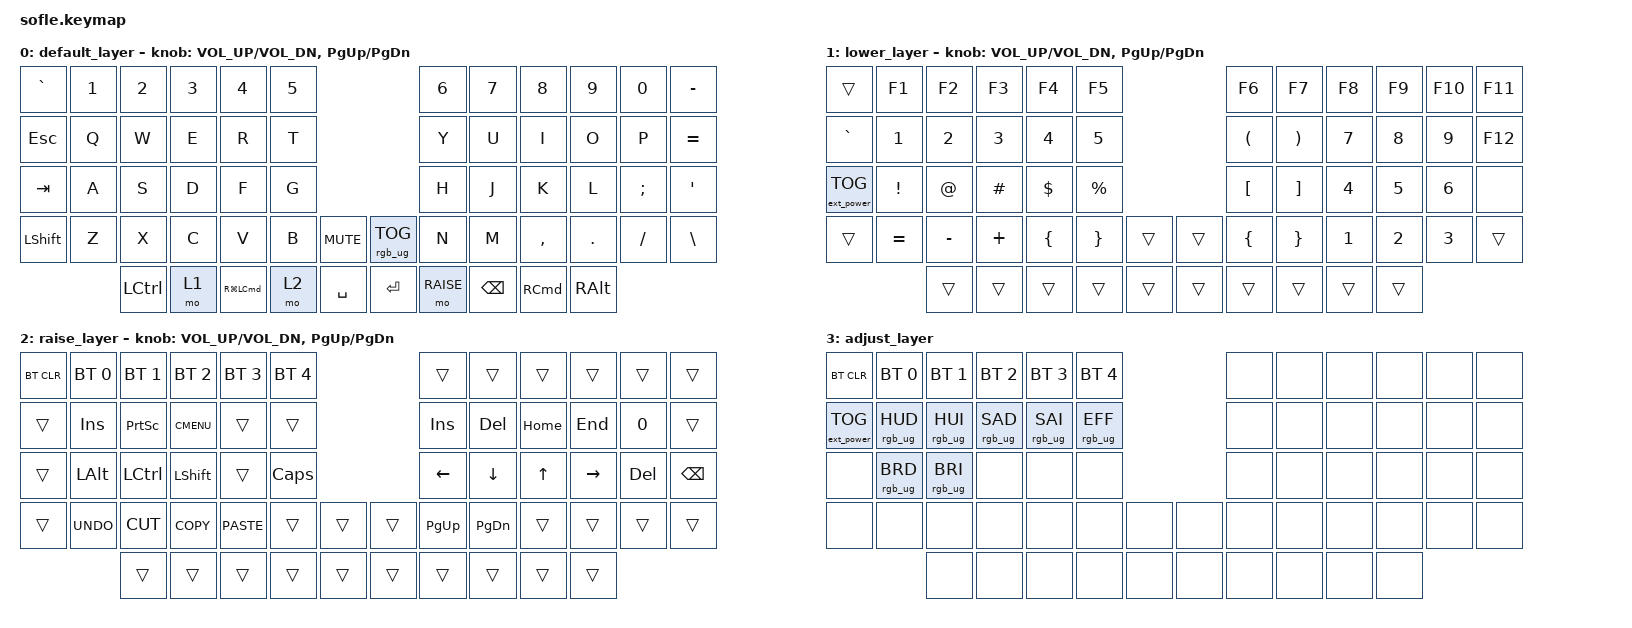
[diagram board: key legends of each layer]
/*
 * Copyright (c) 2020 The ZMK Contributors
 *
 * SPDX-License-Identifier: MIT
 */

#include <behaviors.dtsi>
#include <dt-bindings/zmk/bt.h>
#include <dt-bindings/zmk/ext_power.h>
#include <dt-bindings/zmk/keys.h>
#include <dt-bindings/zmk/rgb.h>

#define BASE 0
#define LOWER 1
#define RAISE 2
#define ADJUST 3

/ {
    // Activate ADJUST layer by pressing raise and lower

    conditional_layers {
        compatible = "zmk,conditional-layers";

        adjust_layer {
            if-layers = <LOWER RAISE>;
            then-layer = <ADJUST>;
        };
    };

    keymap {
        compatible = "zmk,keymap";

        default_layer {
            // ------------------------------------------------------------------------------------------------------------
            // |   `   |  1  |  2  |  3   |  4   |  5   |                   |  6   |  7    |  8    |  9   |   0   |       |
            // |  ESC  |  Q  |  W  |  E   |  R   |  T   |                   |  Y   |  U    |  I    |  O   |   P   | BKSPC |
            // |  TAB  |  A  |  S  |  D   |  F   |  G   |                   |  H   |  J    |  K    |  L   |   ;   |   '   |
            // | SHIFT |  Z  |  X  |  C   |  V   |  B   |  MUTE  |  |       |  N   |  M    |  ,    |  .   |   /   | SHIFT |
            //               | GUI | ALT  | CTRL | LOWER|  ENTER |  | SPACE | RAISE| CTRL  | ALT   | GUI  |

            bindings = <
&kp GRAVE  &kp N1  &kp N2            &kp N3  &kp N4                &kp N5                                 &kp N6     &kp N7         &kp N8             &kp N9         &kp N0    &kp MINUS
&kp ESC    &kp Q   &kp W             &kp E   &kp R                 &kp T                                  &kp Y      &kp U          &kp I              &kp O          &kp P     &kp EQUAL
&kp TAB    &kp A   &kp S             &kp D   &kp F                 &kp G                                  &kp H      &kp J          &kp K              &kp L          &kp SEMI  &kp SQT
&kp LSHFT  &kp Z   &kp X             &kp C   &kp V                 &kp B   &kp C_MUTE    &rgb_ug RGB_TOG  &kp N      &kp M          &kp COMMA          &kp DOT        &kp FSLH  &kp BACKSLASH
                   &kp LEFT_CONTROL  &mo 1   &kp RG(LEFT_COMMAND)  &mo 2   &kp SPACE     &kp ENTER        &mo RAISE  &kp BACKSPACE  &kp RIGHT_COMMAND  &kp RIGHT_ALT
            >;

            sensor-bindings = <&inc_dec_kp C_VOL_UP C_VOL_DN &inc_dec_kp PG_UP PG_DN>;
        };

        lower_layer {
            // TODO: Some binds are waiting for shifted keycode support.
            // ------------------------------------------------------------------------------------------------------------
            // |       |  F1 |  F2 |  F3  |  F4  |  F5  |                   |  F6  |  F7   |  F8   |  F9  |  F10  |  F11  |
            // |   `   |  1  |  2  |  3   |  4   |  5   |                   |  6   |  7    |  8    |  9   |   0   |  F12  |
            // |       |  !  |  @  |  #   |  $   |  %   |                   |  ^   |  &    |  *    |  (   |   )   |   |   |
            // |       |  =  |  -  |  +   |  {   |  }   |        |  |       |  [   |  ]    |  ;    |  :   |   \   |       |
            //               |     |      |      |      |        |  |       |      |       |       |      |

            bindings = <
&trans             &kp F1     &kp F2     &kp F3    &kp F4    &kp F5                       &kp F6                &kp F7                 &kp F8        &kp F9        &kp F10       &kp F11
&kp GRAVE          &kp N1     &kp N2     &kp N3    &kp N4    &kp N5                       &kp LEFT_PARENTHESIS  &kp RIGHT_PARENTHESIS  &kp N7        &kp N8        &kp N9        &kp F12
&ext_power EP_TOG  &kp EXCL   &kp AT     &kp HASH  &kp DLLR  &kp PRCNT                    &kp LEFT_BRACKET      &kp RIGHT_BRACKET      &kp NUMBER_4  &kp N5        &kp NUMBER_6  &none
&trans             &kp EQUAL  &kp MINUS  &kp PLUS  &kp LBRC  &kp RBRC   &trans    &trans  &kp LEFT_BRACE        &kp RIGHT_BRACE        &kp NUMBER_1  &kp NUMBER_2  &kp NUMBER_3  &trans
                              &trans     &trans    &trans    &trans     &trans    &trans  &trans                &trans                 &trans        &trans
            >;

            sensor-bindings = <&inc_dec_kp C_VOL_UP C_VOL_DN &inc_dec_kp PG_UP PG_DN>;
        };

        raise_layer {
            // ------------------------------------------------------------------------------------------------------------
            // | BTCLR | BT1  | BT2  |  BT3  |  BT4  |  BT5 |                |      |      |       |      |       |       |
            // |       | INS  | PSCR | GUI   |       |      |                | PGUP |      |   ^   |      |       |       |
            // |       | ALT  | CTRL | SHIFT |       | CAPS |                | PGDN |   <- |   v   |  ->  |  DEL  | BKSPC |
            // |       | UNDO | CUT  | COPY  | PASTE |      |      |  |      |      |      |       |      |       |       |
            //                |      |       |       |      |      |  |      |      |      |       |      |

            bindings = <
&bt BT_CLR  &bt BT_SEL 0  &bt BT_SEL 1  &bt BT_SEL 2  &bt BT_SEL 3  &bt BT_SEL 4                    &trans       &trans         &trans        &trans     &trans   &trans
&trans      &kp INS       &kp PSCRN     &kp K_CMENU   &trans        &trans                          &kp INSERT   &kp DELETE     &kp HOME      &kp END    &kp N0   &trans
&trans      &kp LALT      &kp LCTRL     &kp LSHFT     &trans        &kp CLCK                        &kp LEFT     &kp DOWN       &kp UP_ARROW  &kp RIGHT  &kp DEL  &kp BSPC
&trans      &kp K_UNDO    &kp K_CUT     &kp K_COPY    &kp K_PASTE   &trans        &trans    &trans  &kp PAGE_UP  &kp PAGE_DOWN  &trans        &trans     &trans   &trans
                          &trans        &trans        &trans        &trans        &trans    &trans  &trans       &trans         &trans        &trans
            >;

            sensor-bindings = <&inc_dec_kp C_VOL_UP C_VOL_DN &inc_dec_kp PG_UP PG_DN>;
        };

        adjust_layer {
            // ----------------------------------------------------------------------------------------------------------------------------
            // | BTCLR  |  BT1    |  BT2    |   BT3   |   BT4   |   BT5   |                  |      |      |       |      |       |       |
            // | EXTPWR | RGB_HUD | RGB_HUI | RGB_SAD | RGB_SAI | RGB_EFF |                  |      |      |       |      |       |       |
            // |        | RGB_BRD | RGB_BRI |         |         |         |                  |      |      |       |      |       |       |
            // |        |         |         |         |         |         | RGB_TOG | |      |      |      |       |      |       |       |
            //                    |         |         |         |         |         | |      |      |      |       |      |

            bindings = <
&bt BT_CLR         &bt BT_SEL 0     &bt BT_SEL 1     &bt BT_SEL 2     &bt BT_SEL 3     &bt BT_SEL 4                     &none  &none  &none  &none  &none  &none
&ext_power EP_TOG  &rgb_ug RGB_HUD  &rgb_ug RGB_HUI  &rgb_ug RGB_SAD  &rgb_ug RGB_SAI  &rgb_ug RGB_EFF                  &none  &none  &none  &none  &none  &none
&none              &rgb_ug RGB_BRD  &rgb_ug RGB_BRI  &none            &none            &none                            &none  &none  &none  &none  &none  &none
&none              &none            &none            &none            &none            &none            &none    &none  &none  &none  &none  &none  &none  &none
                                    &none            &none            &none            &none            &none    &none  &none  &none  &none  &none
            >;
        };

        extra1 { status = "reserved"; };

        extra2 { status = "reserved"; };

        extra3 { status = "reserved"; };

        extra4 { status = "reserved"; };
    };
};
